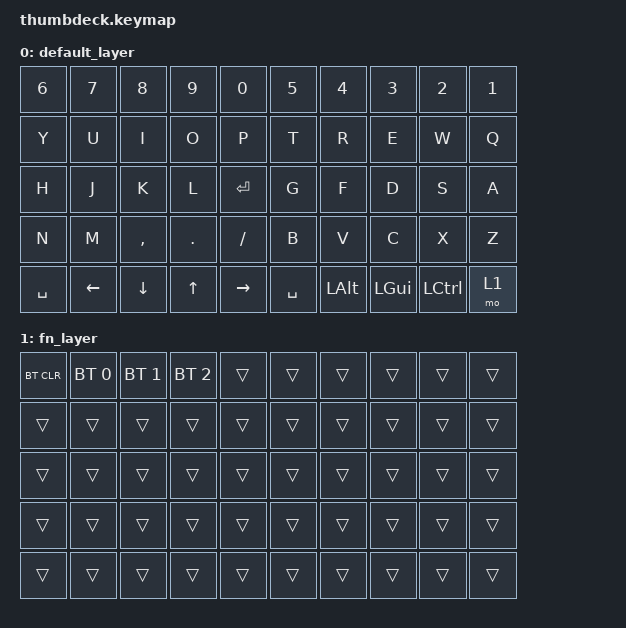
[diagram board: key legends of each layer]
/*
 * thumbdeck.keymap — placeholder default layer (i8+-inspired QWERTY).
 *
 * 50 bindings, row-major over the single 5x10 matrix. Per-row order is
 * RIGHT grip (logical cols 0..4, local wiring) then LEFT grip (cols 5..9, over
 * the bridge cable). One controller scans all of it — no split. Legends match
 * the render:
 *   RIGHT: 6 7 8 9 0 / Y U I O P / H J K L ENT / N M , . / / SPC ARROWS
 *   LEFT : 1 2 3 4 5 / Q W E R T / A S D F G / Z X C V B / CTL GUI ALT SPC FN
 * Layout is provisional until the KiCad layout freezes (Section 7 loop output).
 */

#include <behaviors.dtsi>
#include <dt-bindings/zmk/keys.h>
#include <dt-bindings/zmk/bt.h>

/ {
	keymap {
		compatible = "zmk,keymap";

		default_layer {
			bindings = <
/* logical cols:  0    1    2    3     4   | 5(inner of L) ......... 9(outer) */
/* r0  RIGHT: 6 7 8 9 0            LEFT(inner->outer): 5 4 3 2 1 */
   &kp N6   &kp N7   &kp N8   &kp N9    &kp N0      &kp N5    &kp N4   &kp N3   &kp N2  &kp N1
/* r1  RIGHT: Y U I O P            LEFT: T R E W Q */
   &kp Y    &kp U    &kp I    &kp O     &kp P       &kp T     &kp R    &kp E    &kp W   &kp Q
/* r2  RIGHT: H J K L ENTER        LEFT: G F D S A */
   &kp H    &kp J    &kp K    &kp L     &kp ENTER   &kp G     &kp F    &kp D    &kp S   &kp A
/* r3  RIGHT: N M , . /            LEFT: B V C X Z */
   &kp N    &kp M    &kp COMMA &kp DOT  &kp FSLH    &kp B     &kp V    &kp C    &kp X   &kp Z
/* r4  RIGHT: SPC <- v ^ ->        LEFT: SPC ALT GUI CTL FN(mo 1) */
   &kp SPACE &kp LEFT &kp DOWN &kp UP   &kp RIGHT   &kp SPACE &kp LALT &kp LGUI &kp LCTRL &mo 1
			>;
		};

		fn_layer {
			bindings = <
   &bt BT_CLR &bt BT_SEL 0 &bt BT_SEL 1 &bt BT_SEL 2 &trans   &trans &trans &trans &trans &trans
   &trans     &trans       &trans       &trans       &trans   &trans &trans &trans &trans &trans
   &trans     &trans       &trans       &trans       &trans   &trans &trans &trans &trans &trans
   &trans     &trans       &trans       &trans       &trans   &trans &trans &trans &trans &trans
   &trans     &trans       &trans       &trans       &trans   &trans &trans &trans &trans &trans
			>;
		};
	};
};
